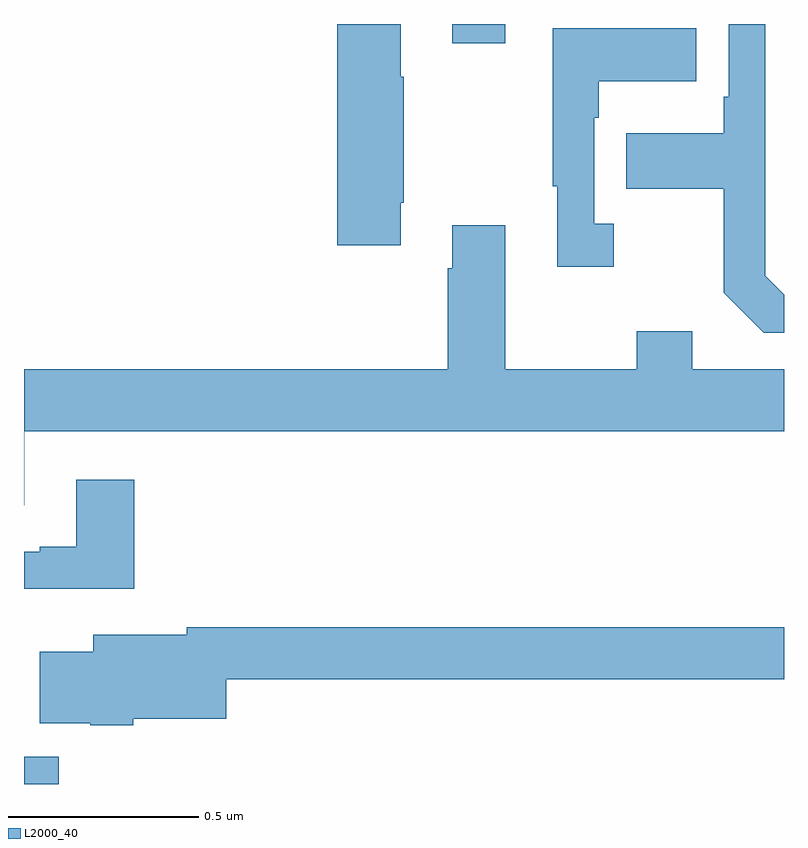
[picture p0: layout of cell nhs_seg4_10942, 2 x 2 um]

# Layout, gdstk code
import gdstk
lib = gdstk.Library(unit=1e-6, precision=1e-09)
def R(c, l, rs):  # rectangles x0, y0, x1, y1
    for r in rs: c.add(gdstk.rectangle(r[:2], r[2:], *l))
def P(c, l, *ps):  # polygons
    for p in ps: c.add(gdstk.Polygon(p, *l))
L2000_40 = (2000, 40)

nhs_seg4_10942 = lib.new_cell('nhs_seg4_10942')
R(nhs_seg4_10942, L2000_40, [(246,787.9,246.092,787.972), (247.127,789.849,247.267,789.9)])
P(nhs_seg4_10942, L2000_40, [(246.991,789.43),(246.999,789.43),(246.999,789.761),(246.991,789.761),(246.991,789.9),(246.824,789.9),(246.824,789.318),(246.991,789.318)],
  [(248,789.187),(247.95,789.237),(247.95,789.9),(247.854,789.9),(247.854,789.709),(247.842,789.709),(247.842,789.613),(247.585,789.613),(247.585,789.466),(247.842,789.466),(247.842,789.193),(247.947,789.087),(248,789.087)],
  [(247.552,789.374),(247.5,789.374),(247.5,789.653),(247.513,789.653),(247.513,789.749),(247.769,789.749),(247.769,789.889),(247.392,789.889),(247.392,789.473),(247.403,789.473),(247.403,789.261),(247.552,789.261)],
  [(246.001,788.828),(248,788.828),(248,788.992),(247.759,788.992),(247.759,789.091),(247.612,789.091),(247.612,788.992),(247.267,788.992),(247.267,789.37),(247.127,789.37),(247.127,789.257),(247.115,789.257),(247.115,788.992),(246,788.992),(246,788.634),(246.001,788.634)],
  [(246.29,788.701),(246.137,788.701),(246.137,788.524),(246.041,788.524),(246.041,788.511),(246,788.511),(246,788.414),(246.29,788.414)],
  [(246.288,788.072),(246.532,788.072),(246.532,788.176),(248,788.176),(248,788.312),(246.428,788.312),(246.428,788.293),(246.182,788.293),(246.182,788.248),(246.041,788.248),(246.041,788.06),(246.174,788.06),(246.174,788.054),(246.288,788.054)])

lib.write_gds('nhs_seg4_10942.gds')
